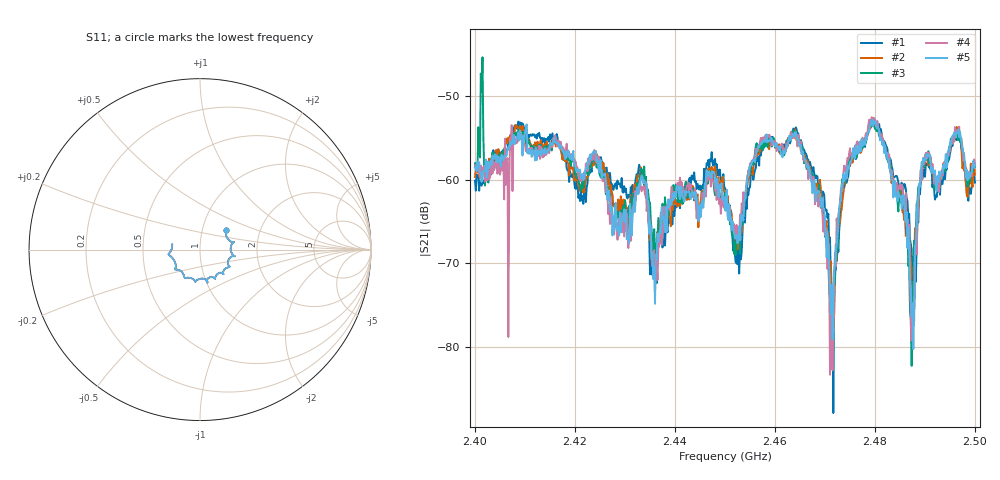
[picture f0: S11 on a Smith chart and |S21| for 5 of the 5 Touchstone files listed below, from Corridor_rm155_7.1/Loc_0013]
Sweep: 2.4 GHz to 2.5 GHz
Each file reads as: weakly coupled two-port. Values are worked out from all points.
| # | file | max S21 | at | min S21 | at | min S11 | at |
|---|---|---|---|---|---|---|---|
| 1 | Lab_139_3Ch1.s2p | -52.83 dB | 2.4797 GHz | -87.9 dB | 2.4717 GHz | -15.8 dB | 2.4993 GHz |
| 2 | Lab_139_7Ch1.s2p | -52.67 dB | 2.4798 GHz | -80.4 dB | 2.4715 GHz | -15.7 dB | 2.4995 GHz |
| 3 | Lab_139_8Ch1.s2p | -45.37 dB | 2.4015 GHz | -82.3 dB | 2.4873 GHz | -15.8 dB | 2.49 GHz |
| 4 | Lab_139_9Ch1.s2p | -52.56 dB | 2.4793 GHz | -83.4 dB | 2.471 GHz | -15.7 dB | 2.4993 GHz |
| 5 | Lab_139_10Ch1.s2p | -52.84 dB | 2.4797 GHz | -80.3 dB | 2.4877 GHz | -15.7 dB | 2.4993 GHz |
